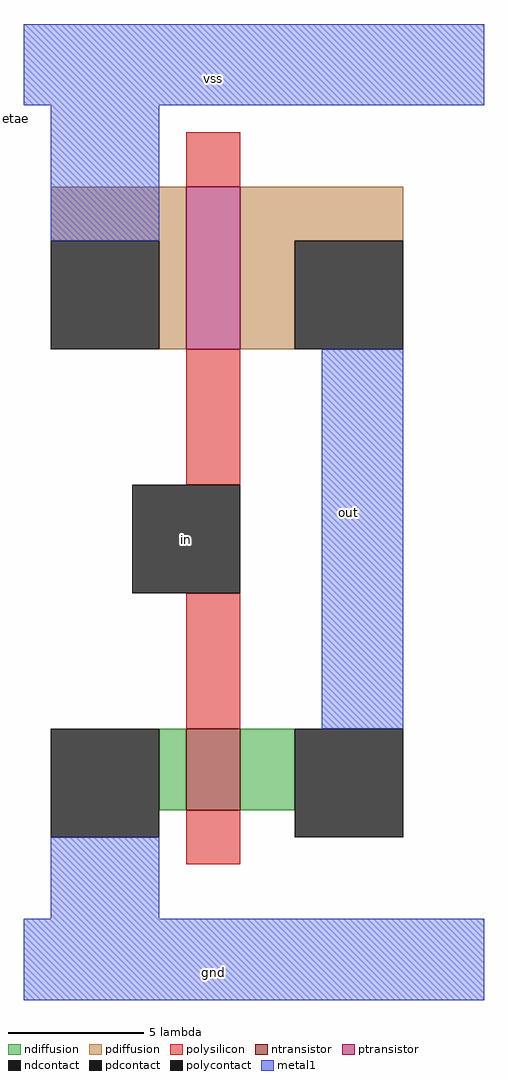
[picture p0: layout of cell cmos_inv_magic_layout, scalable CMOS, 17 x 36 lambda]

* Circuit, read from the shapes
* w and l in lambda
.subckt cmos_inv_magic_layout gnd in out vss
M1 out in gnd VSUBS nfet w=3 l=2
M2 out in vss NWELL pfet w=6 l=2
.ends

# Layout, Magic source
magic
tech scmos
<< polysilicon >>
rect 0 6 2 8
rect 0 -5 2 0
rect 0 -14 2 -9
rect 0 -19 2 -17
<< ndiffusion >>
rect -1 -17 0 -14
rect 2 -17 4 -14
<< pdiffusion >>
rect -5 4 0 6
rect -1 0 0 4
rect 2 4 8 6
rect 2 0 4 4
<< metal1 >>
rect -6 9 11 12
rect -5 4 -1 9
rect 5 -14 8 0
rect -5 -21 -1 -18
rect -6 -24 11 -21
<< ntransistor >>
rect 0 -17 2 -14
<< ptransistor >>
rect 0 0 2 6
<< polycontact >>
rect -2 -9 2 -5
<< ndcontact >>
rect -5 -18 -1 -14
rect 4 -18 8 -14
<< pdcontact >>
rect -5 0 -1 4
rect 4 0 8 4
<< labels >>
rlabel space -8 7 -5 10 4 etae
rlabel metal1 1 10 1 10 3 vss
rlabel metal1 6 -6 6 -6 3 out
rlabel metal1 1 -23 1 -23 3 gnd
rlabel polycontact 0 -7 0 -7 1 in
<< end >>
